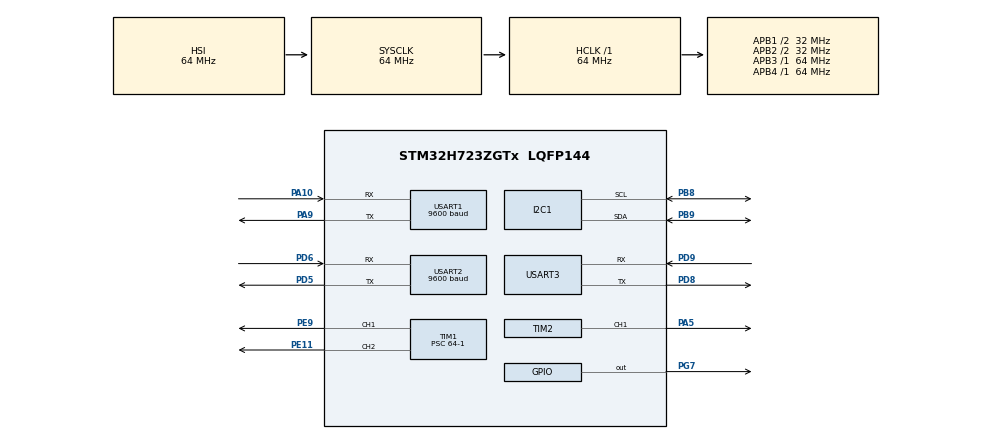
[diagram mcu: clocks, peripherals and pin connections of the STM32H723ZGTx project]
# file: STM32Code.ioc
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CORTEX_M7.default_mode_Activation=1
I2C1.Timing=0x00707CBB
Mcu.Family=STM32H7
Mcu.Name=STM32H723ZGTx
Mcu.Package=LQFP144
NVIC.PriorityGroup=NVIC_PRIORITYGROUP_4
NVIC.USART1_IRQn=true\:0\:0\:false\:false\:true\:true\:true\:true
NVIC.USART2_IRQn=true\:0\:0\:false\:false\:true\:true\:true\:true
NVIC.USART3_IRQn=true\:0\:0\:false\:false\:true\:true\:true\:true
PA10.Mode=Asynchronous
PA10.Signal=USART1_RX
PA5.Signal=S_TIM2_CH1_ETR
PA9.Mode=Asynchronous
PA9.Signal=USART1_TX
PB8.Mode=I2C
PB8.Signal=I2C1_SCL
PB9.Mode=I2C
PB9.Signal=I2C1_SDA
PD5.Mode=Asynchronous
PD5.Signal=USART2_TX
PD6.Mode=Asynchronous
PD6.Signal=USART2_RX
PD8.Mode=Asynchronous
PD8.Signal=USART3_TX
PD9.Mode=Asynchronous
PD9.Signal=USART3_RX
PE11.Signal=S_TIM1_CH2
PE9.Signal=S_TIM1_CH1
PG7.Signal=GPIO_Output
ProjectManager.HeapSize=0x200
ProjectManager.StackSize=0x400
ProjectManager.TargetToolchain=STM32CubeIDE
RCC.ADCFreq_Value=129000000
RCC.APB1Freq_Value=32000000
RCC.APB2Freq_Value=32000000
RCC.APB3Freq_Value=64000000
RCC.APB4Freq_Value=64000000
RCC.CortexFreq_Value=64000000
RCC.D2PPRE1=RCC_APB1_DIV2
RCC.D2PPRE2=RCC_APB2_DIV2
RCC.DIVM1=5
RCC.DIVN1=48
RCC.DIVQ1=5
RCC.HCLKFreq_Value=64000000
RCC.SYSCLKFreq_VALUE=64000000
RCC.USBFreq_Value=122880000
SH.S_TIM1_CH1.0=TIM1_CH1,PWM Generation1 CH1
SH.S_TIM1_CH2.0=TIM1_CH2,PWM Generation2 CH2
SH.S_TIM2_CH1_ETR.0=TIM2_CH1,PWM Generation1 CH1
TIM1.Channel-PWM\ Generation1\ CH1=TIM_CHANNEL_1
TIM1.Channel-PWM\ Generation2\ CH2=TIM_CHANNEL_2
TIM1.Period=20000-1
TIM1.Prescaler=64-1
TIM1.Pulse-PWM\ Generation1\ CH1=5000
TIM1.Pulse-PWM\ Generation2\ CH2=5000
TIM2.Channel-PWM\ Generation1\ CH1=TIM_CHANNEL_1
TIM2.Period=20000-1
TIM2.Prescaler=64-1
TIM2.Pulse-PWM\ Generation1\ CH1=5000
USART1.BaudRate=9600
USART1.VirtualMode-Asynchronous=VM_ASYNC
USART2.BaudRate=9600
USART2.VirtualMode-Asynchronous=VM_ASYNC
USART3.VirtualMode-Asynchronous=VM_ASYNC
VP_MEMORYMAP_VS_MEMORYMAP.Mode=CurAppReg
board=custom

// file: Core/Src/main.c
/* USER CODE BEGIN Header */
/**
  ******************************************************************************
  * @file           : main.c
  * @brief          : Main program body
  ******************************************************************************
  * @attention
  *
  * Copyright (c) 2025 STMicroelectronics.
  * All rights reserved.
  *
  * This software is licensed under terms that can be found in the LICENSE file
  * in the root directory of this software component.
  * If no LICENSE file comes with this software, it is provided AS-IS.
  *
  ******************************************************************************
  */
/* USER CODE END Header */
#include "main.h"

/* USER CODE BEGIN Includes */
#include "stdint.h"
#include "wit_c_sdk.h"//wit sdk
#include "ring_buffer.h"
#include "AS5600.h"
#include "servo_controls.h"
#include "rudder_control.h"
#include "stdbool.h"
#include "propeller_control.h"
/* USER CODE END Includes */

/* USER CODE BEGIN PD */
#define COMMAND_MAX_LENGTH 64 //Uart Commands max size
#define RESPONSE_MAX_LENGTH 128// Uart response max size

//wit defines ->
#define ACC_UPDATE		0x01
#define GYRO_UPDATE		0x02
#define ANGLE_UPDATE	0x04
#define MAG_UPDATE		0x08
#define GPS_UPDATE    0x10
#define READ_UPDATE		0x80
/* USER CODE END PD */

I2C_HandleTypeDef hi2c1;

TIM_HandleTypeDef htim1;
TIM_HandleTypeDef htim2;

UART_HandleTypeDef huart1;
UART_HandleTypeDef huart2;
UART_HandleTypeDef huart3;

/* USER CODE BEGIN PV */
//wit variables ->
static char s_cDataUpdate = 0;//wit update var
//defs
ring_buffer uart_ring_buffer;
ring_buffer uart2_ring_buffer;   // Separate buffer for USART2 (XBee)
uint8_t rx_data_uart2;           // 1-byte RX variable for USART2
uint8_t rx_data_s; // Single byte for receiving data
uint8_t rx_data_xbee; //single Byte from Xbee
uint8_t ucRxData = 0;//Single Byte Rx fOr Witmotion
char command_buffer[COMMAND_MAX_LENGTH]; // To hold the extracted command
char command_buffer_xbee[COMMAND_MAX_LENGTH];
uint32_t uiBuad = 115200;
uint8_t auton = 1;

volatile bool process_set_zpos_uart3 = false;
volatile bool process_set_zpos_uart2 = false;
volatile bool zpos_configured_this_session = false;
/* USER CODE END PV */

void SystemClock_Config(void);
static void MPU_Config(void);
static void MX_GPIO_Init(void);
static void MX_TIM1_Init(void);
static void MX_USART3_UART_Init(void);
static void MX_USART2_UART_Init(void);
static void MX_I2C1_Init(void);
static void MX_USART1_UART_Init(void);
static void MX_TIM2_Init(void);
/* USER CODE BEGIN PFP */

//wit function prototypes ->

static void AutoScanSensor(void);
static void SensorUartSend(uint8_t *p_data, uint32_t uiSize);
static void CopeSensorData(uint32_t uiReg, uint32_t uiRegNum);
/* USER CODE END PFP */

/* USER CODE BEGIN 0 */
int __io_putchar(int ch) {
    HAL_UART_Transmit(&huart3, (uint8_t *)&ch, 1, HAL_MAX_DELAY);
     //HAL_UART_Transmit(&huart3, (uint8_t *)&ch, 1, 1); //enable to get debug over STLINK

    return ch;
}
//uart interrupt ring buffer init
void System_Init(void) {
  // Initialize ring buffer
  ring_buffer_init(&uart_ring_buffer);
  ring_buffer_init(&uart2_ring_buffer);

  // Start UART reception in interrupt mode
  HAL_UART_Receive_IT(&huart3, &rx_data_s, 1); // initialising Stlink interrupts
  HAL_UART_Receive_IT(&huart2, &rx_data_uart2, 1); // initialising XBee interrupts
  HAL_UART_Receive_IT(&huart1, &ucRxData, 1);

  //Start the rudder
  // Initialize rudder control
  rudder_init(&htim1, TIM_CHANNEL_2);
  propeller_init(&htim2, TIM_CHANNEL_1); // Initialize propeller control

  // Set initial rudder position
  rudder_set_target_angle(rudder_get_straight());

  propeller_set_speed(0.0f); // Set initial propeller speed to 0

 }

 void HAL_UART_RxCpltCallback(UART_HandleTypeDef *huart) {

  if(huart->Instance==USART1)
	   {
	       WitSerialDataIn(ucRxData);
	       UART_Start_Receive_IT(huart, &ucRxData, 1);
	   }

  if (huart->Instance == USART3) { // Ensure this is for the correct UART instance
      // Add received byte to the ring buffer
      ring_buffer_put(&uart_ring_buffer, rx_data_s);

      // Check if we received a carriage return '\r' (end of command)
      if (rx_data_s == '\r') {
          uint8_t data;
          uint16_t index = 0;
          // Extract the command from the ring buffer
          while (ring_buffer_get(&uart_ring_buffer, &data) && data != '\r' && index < COMMAND_MAX_LENGTH - 1) {
              command_buffer[index++] = (char)data;
          }
          command_buffer[index] = '\0'; // Null-terminate the string
          // Process the command
          const char *response;
          if (strcmp(command_buffer, "hello") == 0) {
              response = "Hello to you too!\n";
          } else if (strcmp(command_buffer, "setzerouart") == 0) {
              if (AS5600_config_ZPOS(&hi2c1) == HAL_OK) {
                  response = "ZPOS set successfully.\n";
              } else {
                  response = "Failed to set ZPOS.\n";
              }
          }else if (strcmp(command_buffer, "auto") == 0) {
        	  auton = 1;
          }else if (strcmp(command_buffer, "nauto") == 0) {
        	  auton = 0;
          }
          else {
              response = "Uh oh, something didn't work...\n";
          }

          // Transmit the response
          HAL_UART_Transmit(&huart3, (uint8_t *)response, strlen(response), HAL_MAX_DELAY);
          // Clear the command buffer for reuse
          memset(command_buffer, 0, COMMAND_MAX_LENGTH);
      }
      // Re-enable UART interrupt for next byte reception
      HAL_UART_Receive_IT(&huart3, &rx_data_s, 1);
  }

  if (huart->Instance == USART2) {
    ring_buffer_put(&uart2_ring_buffer, rx_data_uart2);

    //adding manual rudder controls

    if (rx_data_uart2 == '[') {
            // Move rudder left
            float angle = rudder_get_target_angle();
            angle -= 5.0f;

            float min = rudder_get_straight() - rudder_get_range();
            if (angle < min)
            {
              angle = min;
            }
            rudder_set_target_angle(angle);

            char response[40];
            sprintf(response, "Rudder LEFT: %.1f degrees\r\n", angle);
            HAL_UART_Transmit(&huart2, (uint8_t *)response, strlen(response), 100);

        }
        else if (rx_data_uart2 == ']') {
            // Move rudder right
            float angle = rudder_get_target_angle();
            angle += 5.0f;

            float max = rudder_get_straight() + rudder_get_range();
            if (angle > max)
            {
              angle = max;
            }

            rudder_set_target_angle(angle);

            char response[40];
            sprintf(response, "Rudder RIGHT: %.1f degrees\r\n", angle);
            HAL_UART_Transmit(&huart2, (uint8_t *)response, strlen(response), 100);

        }
        else if (rx_data_uart2 == 'f') {
          float speed = propeller_get_speed();
          speed += 10.0f;
          if (speed > 100.0f) speed = 100.0f;
          propeller_set_speed(speed);
          char msg[40];
          sprintf(msg, "Propeller speed: %.1f%%\r\n", speed);
          HAL_UART_Transmit(&huart2, (uint8_t*)msg, strlen(msg), 100);
        }
        else if (rx_data_uart2 == 's') {
          propeller_stop();
          HAL_UART_Transmit(&huart2, (uint8_t*)"Propeller STOPPED\r\n", 19, 100);
        }

    	if (rx_data_uart2 == '0'){ // Add reset command check
                            printf( "Resetting system via XBee...\n");
                            HAL_Delay(100); // Short delay for UART TX
                            NVIC_SystemReset(); // Perform the reset
                             // Code execution will not continue past this point
                        }

    if (rx_data_uart2 == '\r') {
        uint8_t data;
        uint16_t index = 0;

        while (ring_buffer_get(&uart2_ring_buffer, &data) && data != '\r' && index < COMMAND_MAX_LENGTH - 1) {
            command_buffer_xbee[index++] = (char)data;
        }
        command_buffer_xbee[index] = '\0';

        const char *response;
        if (strcmp(command_buffer_xbee, "hello") == 0) {

            response = "Hello to you Xbee!\n";

        } else if (strcmp(command_buffer_xbee, "setzero") == 0) { // make it a switch case
            if (AS5600_config_ZPOS(&hi2c1) == HAL_OK) {
                response = "ZPOS set successfully via xbee.\n";
            } else {
                response = "Failed to set ZPOS via Xbee.\n";
            }

        }
        else {
            response = "Unrecognized command from XBee\n";
        }

        HAL_UART_Transmit(&huart2, (uint8_t *)response, strlen(response), HAL_MAX_DELAY);
        printf(response);
        memset(command_buffer_xbee, 0, COMMAND_MAX_LENGTH);
    }

    //HAL_UART_Receive_IT(&huart2, &rx_data_uart2, 1); // Restart interrupt
    UART_Start_Receive_IT(huart, &rx_data_uart2, 1);

  }

 }
/* USER CODE END 0 */

int main(void)
{

  /* USER CODE BEGIN 1 */
  float fAcc[3], fGyro[3], fAngle[3], fYaw;
  int i;
  /* USER CODE END 1 */

  /* MPU Configuration--------------------------------------------------------*/
  MPU_Config();

  /* MCU Configuration--------------------------------------------------------*/

  /* Reset of all peripherals, Initializes the Flash interface and the Systick. */
  HAL_Init();

  /* Configure the system clock */
  SystemClock_Config();

  /* Initialize all configured peripherals */
  MX_GPIO_Init();
  MX_TIM1_Init();
  MX_USART3_UART_Init();
  MX_USART2_UART_Init();
  MX_I2C1_Init();
  MX_USART1_UART_Init();
  MX_TIM2_Init();
  /* USER CODE BEGIN 2 */

  WitInit(WIT_PROTOCOL_NORMAL, 0x50);
  WitSerialWriteRegister(SensorUartSend);
  WitRegisterCallBack(CopeSensorData);

  System_Init();
  AutoScanSensor();

  HAL_TIM_PWM_Start(&htim1, TIM_CHANNEL_1);//sail
  HAL_TIM_PWM_Start(&htim2, TIM_CHANNEL_1);//propellor
  HAL_TIM_PWM_Start(&htim1, TIM_CHANNEL_2);//rudder

  float angle;
  char str[] = "System Booted";
  HAL_UART_Transmit(&huart3, (uint8_t*)str, strlen(str), 2000);
  HAL_Delay(500);
  ServoController sail_servo;
  sail_servo.htim= &htim1;
  sail_servo.channel = TIM_CHANNEL_1;
  HAL_StatusTypeDef init_2c_status = AS5600_config_ZPOS(&hi2c1);
  /* USER CODE END 2 */

  /* Infinite loop */
  /* USER CODE BEGIN WHILE */
  while (1)
  {
	  HAL_StatusTypeDef i2c_status = AS5600_read_angle(&hi2c1, &angle);
	  if (i2c_status== HAL_OK){
		printf("the angle is %f \n", angle);
	  }

	  if (i2c_status != HAL_OK) {
	      printf("Error reading angle from AS5600\n");
	      continue; // Skip to the next iteration
	  }

	  copy_wind_pos(&sail_servo, angle);
	  rudder_update();

    if(s_cDataUpdate)
    		{
    			printf("3");
            // Assumes AX, AY, AZ are sequential registers starting at AX
            // Assumes GX, GY, GZ are sequential registers starting at GX
            // Assumes Roll, Pitch, Yaw are sequential registers starting at Roll
    			for(i = 0; i < 3; i++)
    			{
    				fAcc[i] = sReg[AX+i] / 32768.0f * 16.0f;
    				fGyro[i] = sReg[GX+i] / 32768.0f * 2000.0f;
    				fAngle[i] = sReg[Roll+i] / 32768.0f * 180.0f;
    			}

    			// Combine high/low registers for 32-bit values and apply scaling
				// Use int32_t for intermediate signed 32-bit values
				// Use uint16_t cast for low words when combining to avoid sign extension issues
				// Use float for final calculated values

				// Longitude & Latitude Calculation
				int32_t iLon = ((int32_t)(short)sReg[LonH] << 16) | (uint16_t)sReg[LonL];
				int32_t iLat = ((int32_t)(short)sReg[LatH] << 16) | (uint16_t)sReg[LatL];

				// Convert from ddmm.mmmmm format (scaled by 100000) to decimal degrees
				float fLon_deg = (float)(iLon / 10000000); // Extract degrees (dd)
				float fLon_min = (float)((iLon % 10000000) / 100000.0f); // Extract minutes (mm.mmmmm)
				float fLongitude = fLon_deg + fLon_min / 60.0f;

				float fLat_deg = (float)(iLat / 10000000); // Extract degrees (dd)
				float fLat_min = (float)((iLat % 10000000) / 100000.0f); // Extract minutes (mm.mmmmm)
				float fLatitude = fLat_deg + fLat_min / 60.0f;

				// GPS Altitude (m)
				float fGpsAltitude = (float)(short)sReg[GPSHeight] / 10.0f;

				// GPS Heading/Course (°). Note: This is course over ground, not magnetic heading.
				float fGpsCourse = (float)(short)sReg[GPSYAW] / 100.0f;

				// GPS Ground Speed (km/h)
				int32_t iGpsSpeed = ((int32_t)(short)sReg[GPSVH] << 16) | (uint16_t)sReg[GPSVL];
				float fGpsSpeed_kmh = (float)iGpsSpeed / 1000.0f;

				// Satellite Info & Accuracy Metrics
				int iSatellites = (uint16_t)sReg[SVNUM]; // Number of satellites is likely unsigned
				float fPDOP = (float)(short)sReg[PDOP] / 100.0f;
				float fHDOP = (float)(short)sReg[HDOP] / 100.0f;
				float fVDOP = (float)(short)sReg[VDOP] / 100.0f;

				/*
    			if(s_cDataUpdate & ACC_UPDATE)
    			{
    				printf("acc:%.3f %.3f %.3f\r\n", fAcc[0], fAcc[1], fAcc[2]);
    				s_cDataUpdate &= ~ACC_UPDATE;
    			}
    			if(s_cDataUpdate & GYRO_UPDATE)
    			{
    				printf("gyro:%.3f %.3f %.3f\r\n", fGyro[0], fGyro[1], fGyro[2]);
    				s_cDataUpdate &= ~GYRO_UPDATE;
    			}
    			if(s_cDataUpdate & ANGLE_UPDATE)
    			{
                    fYaw = (float)((unsigned short)sReg[Yaw]) / 32768 * 180.0;
    				printf("angle:%.3f %.3f %.3f(%.3f)\r\n", fAngle[0], fAngle[1], fAngle[2], fYaw);
    				s_cDataUpdate &= ~ANGLE_UPDATE;
    			}
    			if(s_cDataUpdate & MAG_UPDATE)
    			{
    				printf("mag:%d %d %d\r\n", sReg[HX], sReg[HY], sReg[HZ]);
    				s_cDataUpdate &= ~MAG_UPDATE;
    			}
				if(s_cDataUpdate & GPS_UPDATE)
				  {
								// Print the GPS data
					printf("GPS Lat: %.6f, Lon: %.6f, Alt: %.1fm\r\n", fLatitude, fLongitude, fGpsAltitude);
					printf("GPS Spd: %.3fkm/h, Course: %.2fdeg\r\n", fGpsSpeed_kmh, fGpsCourse);
					printf("GPS Sats: %d, PDOP: %.2f, HDOP: %.2f, VDOP: %.2f\r\n", iSatellites, fPDOP, fHDOP, fVDOP);

					// Clear the GPS update flag
					//s_cDataUpdate &= ~GPS_UPDATE;
				*/
				  printf("AccX,AccY,AccZ,GyroX,GyroY,GyroZ,Roll,Pitch,YawIMU,MagX,MagY,MagZ,Lat,Lon,Alt,Speed,Course,Sats,PDOP,HDOP,VDOP\r\n");
		          printf("%.3f,%.3f,%.3f,", fAcc[0], fAcc[1], fAcc[2]);          // AccX, AccY, AccZ
		          printf("%.3f,%.3f,%.3f,", fGyro[0], fGyro[1], fGyro[2]);       // GyroX, GyroY, GyroZ
		          printf("%.3f,%.3f,%.3f,", fAngle[0], fAngle[1], fAngle[2]);    // Roll, Pitch (AngleZ)
		          printf("%.3f,", fYaw);                                         // YawIMU
		          printf("%d,%d,%d,", sReg[HX], sReg[HY], sReg[HZ]);             // MagX, MagY, MagZ
		          printf("%.6f,%.6f,%.1f,", fLatitude, fLongitude, fGpsAltitude); // Lat, Lon, Alt
		          printf("%.3f,%.2f,", fGpsSpeed_kmh, fGpsCourse);               // Speed, Course
		          printf("%d,%.2f,%.2f,%.2f", iSatellites, fPDOP, fHDOP, fVDOP); // Sats, PDOP, HDOP, VDOP
		          printf("\r\n"); // End of CSV line

                s_cDataUpdate = 0;
    		}
    /* USER CODE END WHILE */

   }
}

void SystemClock_Config(void)
{
  RCC_OscInitTypeDef RCC_OscInitStruct = {0};
  RCC_ClkInitTypeDef RCC_ClkInitStruct = {0};

  /** Supply configuration update enable
  */
  HAL_PWREx_ConfigSupply(PWR_LDO_SUPPLY);

  /** Configure the main internal regulator output voltage
  */
  __HAL_PWR_VOLTAGESCALING_CONFIG(PWR_REGULATOR_VOLTAGE_SCALE3);

  while(!__HAL_PWR_GET_FLAG(PWR_FLAG_VOSRDY)) {}

  /** Initializes the RCC Oscillators according to the specified parameters
  * in the RCC_OscInitTypeDef structure.
  */
  RCC_OscInitStruct.OscillatorType = RCC_OSCILLATORTYPE_HSI;
  RCC_OscInitStruct.HSIState = RCC_HSI_DIV1;
  RCC_OscInitStruct.HSICalibrationValue = 64;
  RCC_OscInitStruct.PLL.PLLState = RCC_PLL_NONE;
  if (HAL_RCC_OscConfig(&RCC_OscInitStruct) != HAL_OK)
  {
    Error_Handler();
  }

  /** Initializes the CPU, AHB and APB buses clocks
  */
  RCC_ClkInitStruct.ClockType = RCC_CLOCKTYPE_HCLK|RCC_CLOCKTYPE_SYSCLK
                              |RCC_CLOCKTYPE_PCLK1|RCC_CLOCKTYPE_PCLK2
                              |RCC_CLOCKTYPE_D3PCLK1|RCC_CLOCKTYPE_D1PCLK1;
  RCC_ClkInitStruct.SYSCLKSource = RCC_SYSCLKSOURCE_HSI;
  RCC_ClkInitStruct.SYSCLKDivider = RCC_SYSCLK_DIV1;
  RCC_ClkInitStruct.AHBCLKDivider = RCC_HCLK_DIV1;
  RCC_ClkInitStruct.APB3CLKDivider = RCC_APB3_DIV1;
  RCC_ClkInitStruct.APB1CLKDivider = RCC_APB1_DIV2;
  RCC_ClkInitStruct.APB2CLKDivider = RCC_APB2_DIV2;
  RCC_ClkInitStruct.APB4CLKDivider = RCC_APB4_DIV1;

  if (HAL_RCC_ClockConfig(&RCC_ClkInitStruct, FLASH_LATENCY_1) != HAL_OK)
  {
    Error_Handler();
  }
}

static void MX_I2C1_Init(void)
{

  hi2c1.Instance = I2C1;
  hi2c1.Init.Timing = 0x00707CBB;
  hi2c1.Init.OwnAddress1 = 0;
  hi2c1.Init.AddressingMode = I2C_ADDRESSINGMODE_7BIT;
  hi2c1.Init.DualAddressMode = I2C_DUALADDRESS_DISABLE;
  hi2c1.Init.OwnAddress2 = 0;
  hi2c1.Init.OwnAddress2Masks = I2C_OA2_NOMASK;
  hi2c1.Init.GeneralCallMode = I2C_GENERALCALL_DISABLE;
  hi2c1.Init.NoStretchMode = I2C_NOSTRETCH_DISABLE;
  if (HAL_I2C_Init(&hi2c1) != HAL_OK)
  {
    Error_Handler();
  }

  /** Configure Analogue filter
  */
  if (HAL_I2CEx_ConfigAnalogFilter(&hi2c1, I2C_ANALOGFILTER_ENABLE) != HAL_OK)
  {
    Error_Handler();
  }

  /** Configure Digital filter
  */
  if (HAL_I2CEx_ConfigDigitalFilter(&hi2c1, 0) != HAL_OK)
  {
    Error_Handler();
  }

}

static void MX_TIM1_Init(void)
{

  TIM_MasterConfigTypeDef sMasterConfig = {0};
  TIM_OC_InitTypeDef sConfigOC = {0};
  TIM_BreakDeadTimeConfigTypeDef sBreakDeadTimeConfig = {0};

  htim1.Instance = TIM1;
  htim1.Init.Prescaler = 64-1;
  htim1.Init.CounterMode = TIM_COUNTERMODE_UP;
  htim1.Init.Period = 20000-1;
  htim1.Init.ClockDivision = TIM_CLOCKDIVISION_DIV1;
  htim1.Init.RepetitionCounter = 0;
  htim1.Init.AutoReloadPreload = TIM_AUTORELOAD_PRELOAD_DISABLE;
  if (HAL_TIM_PWM_Init(&htim1) != HAL_OK)
  {
    Error_Handler();
  }
  sMasterConfig.MasterOutputTrigger = TIM_TRGO_RESET;
  sMasterConfig.MasterOutputTrigger2 = TIM_TRGO2_RESET;
  sMasterConfig.MasterSlaveMode = TIM_MASTERSLAVEMODE_DISABLE;
  if (HAL_TIMEx_MasterConfigSynchronization(&htim1, &sMasterConfig) != HAL_OK)
  {
    Error_Handler();
  }
  sConfigOC.OCMode = TIM_OCMODE_PWM1;
  sConfigOC.Pulse = 5000;
  sConfigOC.OCPolarity = TIM_OCPOLARITY_HIGH;
  sConfigOC.OCNPolarity = TIM_OCNPOLARITY_HIGH;
  sConfigOC.OCFastMode = TIM_OCFAST_DISABLE;
  sConfigOC.OCIdleState = TIM_OCIDLESTATE_RESET;
  sConfigOC.OCNIdleState = TIM_OCNIDLESTATE_RESET;
  if (HAL_TIM_PWM_ConfigChannel(&htim1, &sConfigOC, TIM_CHANNEL_1) != HAL_OK)
  {
    Error_Handler();
  }
  if (HAL_TIM_PWM_ConfigChannel(&htim1, &sConfigOC, TIM_CHANNEL_2) != HAL_OK)
  {
    Error_Handler();
  }
  sBreakDeadTimeConfig.OffStateRunMode = TIM_OSSR_DISABLE;
  sBreakDeadTimeConfig.OffStateIDLEMode = TIM_OSSI_DISABLE;
  sBreakDeadTimeConfig.LockLevel = TIM_LOCKLEVEL_OFF;
  sBreakDeadTimeConfig.DeadTime = 0;
  sBreakDeadTimeConfig.BreakState = TIM_BREAK_DISABLE;
  sBreakDeadTimeConfig.BreakPolarity = TIM_BREAKPOLARITY_HIGH;
  sBreakDeadTimeConfig.BreakFilter = 0;
  sBreakDeadTimeConfig.Break2State = TIM_BREAK2_DISABLE;
  sBreakDeadTimeConfig.Break2Polarity = TIM_BREAK2POLARITY_HIGH;
  sBreakDeadTimeConfig.Break2Filter = 0;
  sBreakDeadTimeConfig.AutomaticOutput = TIM_AUTOMATICOUTPUT_DISABLE;
  if (HAL_TIMEx_ConfigBreakDeadTime(&htim1, &sBreakDeadTimeConfig) != HAL_OK)
  {
    Error_Handler();
  }
  HAL_TIM_MspPostInit(&htim1);

}

static void MX_TIM2_Init(void)
{

  TIM_MasterConfigTypeDef sMasterConfig = {0};
  TIM_OC_InitTypeDef sConfigOC = {0};

  htim2.Instance = TIM2;
  htim2.Init.Prescaler = 64-1;
  htim2.Init.CounterMode = TIM_COUNTERMODE_UP;
  htim2.Init.Period = 20000-1;
  htim2.Init.ClockDivision = TIM_CLOCKDIVISION_DIV1;
  htim2.Init.AutoReloadPreload = TIM_AUTORELOAD_PRELOAD_DISABLE;
  if (HAL_TIM_PWM_Init(&htim2) != HAL_OK)
  {
    Error_Handler();
  }
  sMasterConfig.MasterOutputTrigger = TIM_TRGO_RESET;
  sMasterConfig.MasterSlaveMode = TIM_MASTERSLAVEMODE_DISABLE;
  if (HAL_TIMEx_MasterConfigSynchronization(&htim2, &sMasterConfig) != HAL_OK)
  {
    Error_Handler();
  }
  sConfigOC.OCMode = TIM_OCMODE_PWM1;
  sConfigOC.Pulse = 5000;
  sConfigOC.OCPolarity = TIM_OCPOLARITY_HIGH;
  sConfigOC.OCFastMode = TIM_OCFAST_DISABLE;
  if (HAL_TIM_PWM_ConfigChannel(&htim2, &sConfigOC, TIM_CHANNEL_1) != HAL_OK)
  {
    Error_Handler();
  }
  HAL_TIM_MspPostInit(&htim2);

}

static void MX_USART1_UART_Init(void)
{

  huart1.Instance = USART1;
  huart1.Init.BaudRate = 115200;
  huart1.Init.WordLength = UART_WORDLENGTH_8B;
  huart1.Init.StopBits = UART_STOPBITS_1;
  huart1.Init.Parity = UART_PARITY_NONE;
  huart1.Init.Mode = UART_MODE_TX_RX;
  huart1.Init.HwFlowCtl = UART_HWCONTROL_NONE;
  huart1.Init.OverSampling = UART_OVERSAMPLING_16;
  huart1.Init.OneBitSampling = UART_ONE_BIT_SAMPLE_DISABLE;
  huart1.Init.ClockPrescaler = UART_PRESCALER_DIV1;
  huart1.AdvancedInit.AdvFeatureInit = UART_ADVFEATURE_NO_INIT;
  if (HAL_UART_Init(&huart1) != HAL_OK)
  {
    Error_Handler();
  }
  if (HAL_UARTEx_SetTxFifoThreshold(&huart1, UART_TXFIFO_THRESHOLD_1_8) != HAL_OK)
  {
    Error_Handler();
  }
  if (HAL_UARTEx_SetRxFifoThreshold(&huart1, UART_RXFIFO_THRESHOLD_1_8) != HAL_OK)
  {
    Error_Handler();
  }
  if (HAL_UARTEx_DisableFifoMode(&huart1) != HAL_OK)
  {
    Error_Handler();
  }

}

static void MX_USART2_UART_Init(void)
{

  huart2.Instance = USART2;
  huart2.Init.BaudRate = 115200;
  huart2.Init.WordLength = UART_WORDLENGTH_8B;
  huart2.Init.StopBits = UART_STOPBITS_1;
  huart2.Init.Parity = UART_PARITY_NONE;
  huart2.Init.Mode = UART_MODE_TX_RX;
  huart2.Init.HwFlowCtl = UART_HWCONTROL_NONE;
  huart2.Init.OverSampling = UART_OVERSAMPLING_16;
  huart2.Init.OneBitSampling = UART_ONE_BIT_SAMPLE_DISABLE;
  huart2.Init.ClockPrescaler = UART_PRESCALER_DIV1;
  huart2.AdvancedInit.AdvFeatureInit = UART_ADVFEATURE_NO_INIT;
  if (HAL_UART_Init(&huart2) != HAL_OK)
  {
    Error_Handler();
  }
  if (HAL_UARTEx_SetTxFifoThreshold(&huart2, UART_TXFIFO_THRESHOLD_1_8) != HAL_OK)
  {
    Error_Handler();
  }
  if (HAL_UARTEx_SetRxFifoThreshold(&huart2, UART_RXFIFO_THRESHOLD_1_8) != HAL_OK)
  {
    Error_Handler();
  }
  if (HAL_UARTEx_DisableFifoMode(&huart2) != HAL_OK)
  {
    Error_Handler();
  }
  /* USER CODE BEGIN USART2_Init 2 */
  	  //UART_Start_Receive_IT(&huart2, &ucRxData, 1);
      //HAL_UART_Receive_IT(&huart1, &ucRxData, 1);

  /* USER CODE END USART2_Init 2 */

}

static void MX_USART3_UART_Init(void)
{

  huart3.Instance = USART3;
  huart3.Init.BaudRate = 115200;
  huart3.Init.WordLength = UART_WORDLENGTH_8B;
  huart3.Init.StopBits = UART_STOPBITS_1;
  huart3.Init.Parity = UART_PARITY_NONE;
  huart3.Init.Mode = UART_MODE_TX_RX;
  huart3.Init.HwFlowCtl = UART_HWCONTROL_NONE;
  huart3.Init.OverSampling = UART_OVERSAMPLING_16;
  huart3.Init.OneBitSampling = UART_ONE_BIT_SAMPLE_DISABLE;
  huart3.Init.ClockPrescaler = UART_PRESCALER_DIV1;
  huart3.AdvancedInit.AdvFeatureInit = UART_ADVFEATURE_NO_INIT;
  if (HAL_UART_Init(&huart3) != HAL_OK)
  {
    Error_Handler();
  }
  if (HAL_UARTEx_SetTxFifoThreshold(&huart3, UART_TXFIFO_THRESHOLD_1_8) != HAL_OK)
  {
    Error_Handler();
  }
  if (HAL_UARTEx_SetRxFifoThreshold(&huart3, UART_RXFIFO_THRESHOLD_1_8) != HAL_OK)
  {
    Error_Handler();
  }
  if (HAL_UARTEx_DisableFifoMode(&huart3) != HAL_OK)
  {
    Error_Handler();
  }

}

static void MX_GPIO_Init(void)
{
  GPIO_InitTypeDef GPIO_InitStruct = {0};

  /* GPIO Ports Clock Enable */
  __HAL_RCC_GPIOA_CLK_ENABLE();
  __HAL_RCC_GPIOE_CLK_ENABLE();
  __HAL_RCC_GPIOD_CLK_ENABLE();
  __HAL_RCC_GPIOG_CLK_ENABLE();
  __HAL_RCC_GPIOB_CLK_ENABLE();

  /*Configure GPIO pin Output Level */
  HAL_GPIO_WritePin(GPIOG, GPIO_PIN_7, GPIO_PIN_RESET);

  /*Configure GPIO pin : PG7 */
  GPIO_InitStruct.Pin = GPIO_PIN_7;
  GPIO_InitStruct.Mode = GPIO_MODE_OUTPUT_PP;
  GPIO_InitStruct.Pull = GPIO_NOPULL;
  GPIO_InitStruct.Speed = GPIO_SPEED_FREQ_LOW;
  HAL_GPIO_Init(GPIOG, &GPIO_InitStruct);

  /* USER CODE BEGIN MX_GPIO_Init_2 */
   /* Configure USART3 TX (PD8) and RX (PD9) */
  GPIO_InitStruct.Pin = GPIO_PIN_8 | GPIO_PIN_9;
  GPIO_InitStruct.Mode = GPIO_MODE_AF_PP;
  GPIO_InitStruct.Pull = GPIO_NOPULL;
  GPIO_InitStruct.Speed = GPIO_SPEED_FREQ_HIGH;
  GPIO_InitStruct.Alternate = GPIO_AF7_USART3; // AF7 for USART3
  HAL_GPIO_Init(GPIOD, &GPIO_InitStruct);

  /* Configure USART2 TX (PD5) and RX (PD6) */
  GPIO_InitStruct.Pin = GPIO_PIN_5 | GPIO_PIN_6;
  GPIO_InitStruct.Mode = GPIO_MODE_AF_PP;
  GPIO_InitStruct.Pull = GPIO_NOPULL;
  GPIO_InitStruct.Speed = GPIO_SPEED_FREQ_HIGH;
  GPIO_InitStruct.Alternate = GPIO_AF7_USART2; // AF7 for USART2
  HAL_GPIO_Init(GPIOD, &GPIO_InitStruct);

  /* Configure USART1 TX (PA9) and RX (PA10) */
  GPIO_InitStruct.Pin = GPIO_PIN_9 | GPIO_PIN_10;
  GPIO_InitStruct.Mode = GPIO_MODE_AF_PP;
  GPIO_InitStruct.Pull = GPIO_NOPULL; // Or GPIO_PULLUP for RX if needed
  GPIO_InitStruct.Speed = GPIO_SPEED_FREQ_HIGH;
  GPIO_InitStruct.Alternate = GPIO_AF7_USART1; // AF7 for USART1
  HAL_GPIO_Init(GPIOA, &GPIO_InitStruct);
  /* USER CODE END MX_GPIO_Init_USART1 */

  /* USER CODE END MX_GPIO_Init_2 */
}

/* USER CODE BEGIN 4 */

static void SensorUartSend(uint8_t *p_data, uint32_t uiSize)
{
  HAL_UART_Transmit(&huart3, p_data, uiSize, uiSize*4);
}
static void CopeSensorData(uint32_t uiReg, uint32_t uiRegNum)
{
	int i;
    for(i = 0; i < uiRegNum; i++)
    {
        switch(uiReg)
        {
            case AZ:
				s_cDataUpdate |= ACC_UPDATE;
            break;
            case GZ:
				s_cDataUpdate |= GYRO_UPDATE;
            break;
            case HZ:
				s_cDataUpdate |= MAG_UPDATE;
            break;
            case Yaw:
				s_cDataUpdate |= ANGLE_UPDATE;
            break;

            case LonL:
            case LonH:
            case LatL:
            case LatH:
            case GPSHeight:
            case GPSYAW:
            case GPSVL:
            case GPSVH:
            case SVNUM:
            case PDOP:
            case HDOP:
            case VDOP:
        s_cDataUpdate |= GPS_UPDATE;
            break;

            default:
				s_cDataUpdate |= READ_UPDATE;
			break;
        }
		uiReg++;
    }
}

static void AutoScanSensor(void)
{
	const uint32_t c_uiBaud[9] = {4800, 9600, 19200, 38400, 57600, 115200, 230400, 460800, 921600};
	int i, iRetry;

	for(i = 0; i < 9; i++)
	{
        uiBuad = c_uiBaud[i]; // literal waste of time for loop only kept it around cause it looks like a nice blocking loading sequence in serial
        HAL_Delay(250); // Settling time
		iRetry = 2;
		do
		{
			s_cDataUpdate = 0;
			WitReadReg(AX, 3);
			HAL_Delay(200);
			if(s_cDataUpdate != 0)
			{
				printf("%lu baud find sensor\r\n\r\n", c_uiBaud[i]);
				return ;
			}
			iRetry--;
		}while(iRetry);
	}
	printf("can not find sensor\r\n");
	printf("please check your connection\r\n");
}
/* USER CODE END 4 */

 /* MPU Configuration */

void MPU_Config(void)
{
  MPU_Region_InitTypeDef MPU_InitStruct = {0};

  /* Disables the MPU */
  HAL_MPU_Disable();

  /** Initializes and configures the Region and the memory to be protected
  */
  MPU_InitStruct.Enable = MPU_REGION_ENABLE;
  MPU_InitStruct.Number = MPU_REGION_NUMBER0;
  MPU_InitStruct.BaseAddress = 0x0;
  MPU_InitStruct.Size = MPU_REGION_SIZE_4GB;
  MPU_InitStruct.SubRegionDisable = 0x87;
  MPU_InitStruct.TypeExtField = MPU_TEX_LEVEL0;
  MPU_InitStruct.AccessPermission = MPU_REGION_NO_ACCESS;
  MPU_InitStruct.DisableExec = MPU_INSTRUCTION_ACCESS_DISABLE;
  MPU_InitStruct.IsShareable = MPU_ACCESS_SHAREABLE;
  MPU_InitStruct.IsCacheable = MPU_ACCESS_NOT_CACHEABLE;
  MPU_InitStruct.IsBufferable = MPU_ACCESS_NOT_BUFFERABLE;

  HAL_MPU_ConfigRegion(&MPU_InitStruct);
  /* Enables the MPU */
  HAL_MPU_Enable(MPU_PRIVILEGED_DEFAULT);

}

void Error_Handler(void)
{
  __disable_irq();
  while (1)
  {
  }
}
